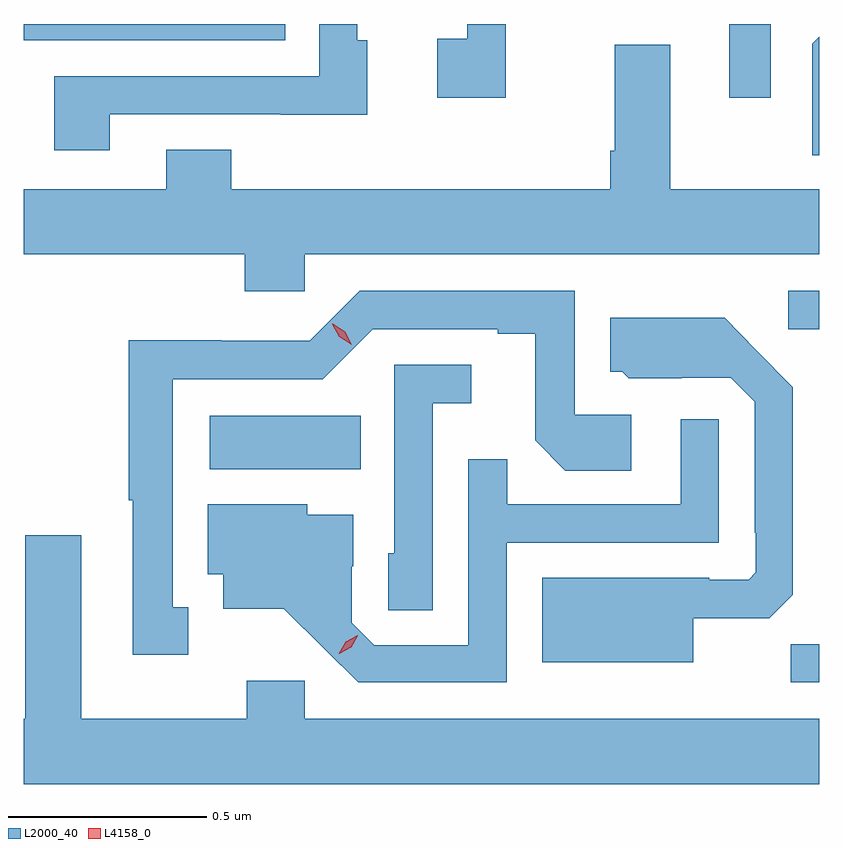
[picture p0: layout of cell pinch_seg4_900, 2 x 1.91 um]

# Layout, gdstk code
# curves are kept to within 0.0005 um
import gdstk
lib = gdstk.Library(unit=1e-6, precision=1e-09)
def R(c, l, rs):  # rectangles x0, y0, x1, y1
    for r in rs: c.add(gdstk.rectangle(r[:2], r[2:], *l))
def P(c, l, *ps):  # polygons
    for p in ps: c.add(gdstk.Polygon(p, *l))
L2000_40 = (2000, 40)
L4158_0 = (4158, 0)

pinch_seg4_900 = lib.new_cell('pinch_seg4_900')
R(pinch_seg4_900, L2000_40, [(735.352,826.38,735.423,826.475), (733.89,826.916,734.27,827.05), (735.345,827.268,735.423,827.364), (735.197,827.85,735.301,828.035), (733.423,827.994,734.081,828.035)])
P(pinch_seg4_900, L2000_40, [(734.635,828.035),(734.538,828.035),(734.538,827.998),(734.463,827.998),(734.463,827.85),(734.635,827.85)],
  [(733.639,827.808),(734.069,827.808),(734.069,827.807),(734.287,827.807),(734.287,827.994),(734.262,827.994),(734.262,828.035),(734.166,828.035),(734.166,827.904),(733.499,827.904),(733.499,827.718),(733.639,827.718)],
  [(735.423,828.003),(735.405,827.985),(735.405,827.705),(735.423,827.705)],
  [(734.13,827.456),(735.423,827.456),(735.423,827.62),(735.049,827.62),(735.049,827.983),(734.909,827.983),(734.909,827.716),(734.897,827.716),(734.897,827.62),(733.945,827.62),(733.945,827.719),(733.781,827.719),(733.781,827.62),(733.423,827.62),(733.423,827.456),(733.979,827.456),(733.979,827.363),(734.13,827.363)],
  [(733.837,826.569),(733.798,826.569),(733.798,827.142),(734.175,827.142),(734.301,827.268),(734.615,827.268),(734.615,827.256),(734.709,827.256),(734.709,826.988),(734.785,826.912),(734.95,826.912),(734.95,827.052),(734.808,827.052),(734.808,827.364),(734.268,827.364),(734.142,827.238),(733.92,827.238),(733.92,827.24),(733.687,827.24),(733.687,826.837),(733.697,826.837),(733.697,826.449),(733.837,826.449)],
  [(735.106,826.541),(735.298,826.541),(735.357,826.6),(735.357,827.122),(735.185,827.296),(734.897,827.296),(734.897,827.16),(734.928,827.16),(734.944,827.144),(735.078,827.144),(735.078,827.145),(735.201,827.145),(735.261,827.085),(735.261,826.756),(735.264,826.756),(735.264,826.656),(735.246,826.638),(735.146,826.638),(735.146,826.642),(734.726,826.642),(734.726,826.43),(735.106,826.43)],
  [(734.451,827.081),(734.548,827.081),(734.548,827.178),(734.355,827.178),(734.355,826.704),(734.34,826.704),(734.34,826.561),(734.451,826.561)],
  [(734.637,826.731),(735.171,826.731),(735.171,827.041),(735.075,827.041),(735.075,826.827),(734.639,826.827),(734.639,826.94),(734.541,826.94),(734.541,826.473),(734.304,826.473),(734.247,826.53),(734.247,826.672),(734.251,826.672),(734.251,826.801),(734.136,826.801),(734.136,826.828),(733.886,826.828),(733.886,826.652),(733.925,826.652),(733.925,826.565),(734.077,826.565),(734.264,826.38),(734.637,826.38)],
  [(735.423,826.288),(734.13,826.288),(734.13,826.384),(733.984,826.384),(733.984,826.288),(733.567,826.288),(733.567,826.75),(733.427,826.75),(733.427,826.288),(733.423,826.288),(733.423,826.124),(735.423,826.124)])
P(pinch_seg4_900, L4158_0, [(734.248,827.228),(734.216,827.248),(734.199,827.28),(734.199,827.281),(734.2,827.281),(734.231,827.261),(734.248,827.229),(734.248,827.228)],
  [(734.215,826.452),(734.215,826.452),(734.232,826.482),(734.263,826.498),(734.263,826.498),(734.263,826.497),(734.246,826.468),(734.216,826.452)])

lib.write_gds('pinch_seg4_900.gds')
